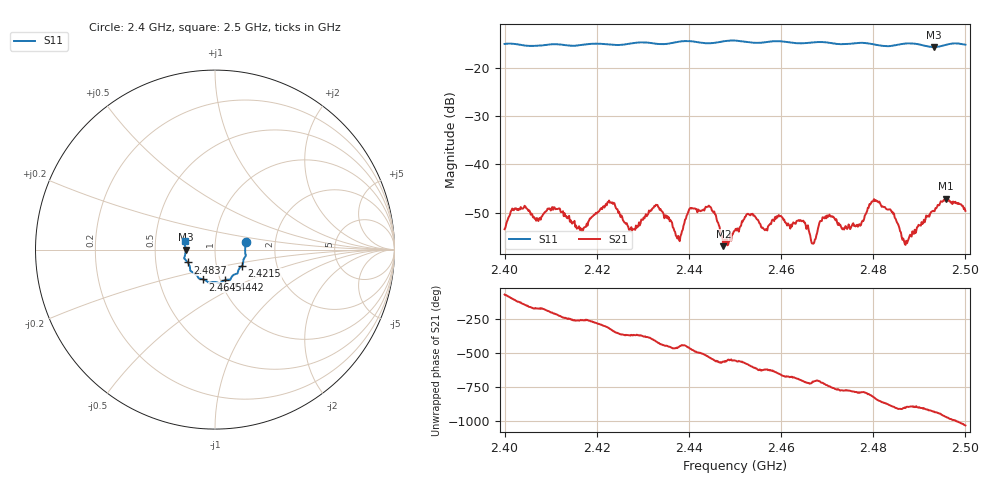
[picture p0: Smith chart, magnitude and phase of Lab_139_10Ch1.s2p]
# Hz S RI R 50
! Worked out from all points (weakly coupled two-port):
!   601 points, 2.4 GHz to 2.5 GHz, reference 50 ohm
!   highest |S21| = -47.09 dB at 2.4958 GHz (marker M1); lowest = -56.9 dB at 2.4475 GHz (marker M2)
!   lowest |S11| = -15.7 dB at 2.4932 GHz (marker M3), VSWR 1.39, Z = 35.9 - j0.0576 ohm
!   |S11| at or under -10 dB: start of sweep to end of sweep
!   S12 and S22 are empty: the file has one direction only
!   S11 on the Smith chart (normalised r, x): 2.4 GHz: 1.41, +0.12; 2.4215 GHz: 1.33, -0.25; 2.4442 GHz: 1.05, -0.37; 2.4645 GHz: 0.83, -0.29; 2.4837 GHz: 0.73, -0.11; 2.5 GHz: 0.71, +0.07
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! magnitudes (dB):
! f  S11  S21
! 2.4 GHz  -15.1  -53.4
! 2.404 GHz  -15.4  -49.1
! 2.4167 GHz  -15.3  -53.7
! 2.4215 GHz  -15.1  -48.6
! 2.4275 GHz  -15.0  -52.9
! 2.4333 GHz  -15.1  -48.8
! 2.4377 GHz  -14.7  -54.7
! 2.4403 GHz  -14.5  -49.0
! 2.4442 GHz  -15.0  -48.7
! 2.4475 GHz  -14.6  -56.9
! 2.45 GHz  -14.4  -53.6
! 2.453 GHz  -14.8  -50.3
! 2.4645 GHz  -15.0  -51.7
! 2.4667 GHz  -14.8  -56.3
! 2.4695 GHz  -14.7  -51.1
! 2.4738 GHz  -15.1  -53.1
! 2.4833 GHz  -15.6  -49.3
! 2.4837 GHz  -15.5  -49.3
! 2.4872 GHz  -15.0  -55.7
! 2.4932 GHz  -15.7  -49.7
! 2.4958 GHz  -15.3  -47.1
! 2.5 GHz  -15.3  -49.6
